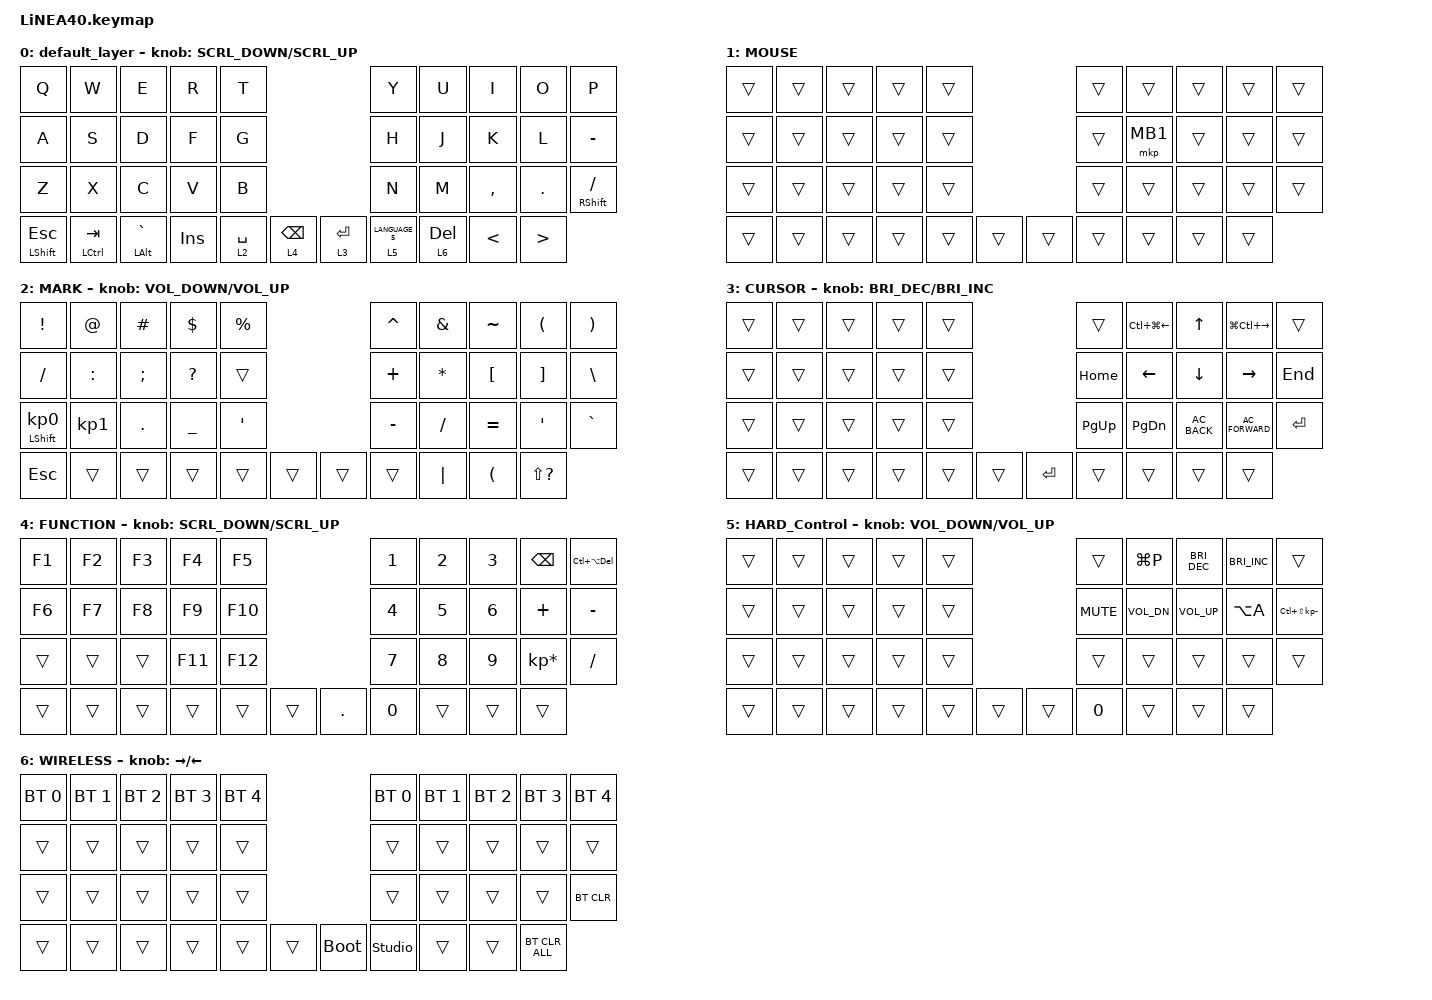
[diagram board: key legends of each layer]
#define ZMK_POINTING_DEFAULT_SCRL_VAL 150

#include <dt-bindings/zmk/input_transform.h>
#include <input/processors.dtsi>
#include <zephyr/dt-bindings/input/input-event-codes.h>
#include <behaviors.dtsi>
#include <dt-bindings/zmk/bt.h>
#include <dt-bindings/zmk/keys.h>
#include <dt-bindings/zmk/pointing.h>

#define MOUSE 1
#define MARK 2
#define CURSOR 3
#define FUNCTION 4
#define SCROLL 5
#define WIRELESS 6

//mouse cursol

&mmv {
    delay-ms = <20>;
    trigger-period-ms = <5>;
    time-to-max-speed-ms = <100>;
    acceleration-exponent = <2>;
};

//mouse scroll

&msc {
    delay-ms = <3>;
    trigger-period-ms = <3>;
    time-to-max-speed-ms = <100>;
    acceleration-exponent = <0>;
};

/ {
    input_processors {
        zip_wheel_scaler: zip_wheel_scaler {
            compatible = "zmk,input-processor-scaler";
            #input-processor-cells = <2>;
            type = <INPUT_EV_REL>;
            codes = <INPUT_REL_WHEEL>;
            track-remainders;
        };
    };
};

&msc_input_listener {
    speed_up {
        layers = <FUNCTION>;
        input-processors = <&zip_wheel_scaler 3 1>; //スクロールを3倍速にする
    };
};

&trackball_listener {
    scroller {
        layers = <SCROLL>;
        input-processors =
            <&zip_xy_transform INPUT_TRANSFORM_Y_INVERT>,
            //スクロール方向を逆転,,,,,
            <&zip_xy_to_scroll_mapper>;
    };
};

/ {
    combos {
        compatible = "zmk,combos";

        ZenkakuHankaku {
            bindings = <&kp GRAVE>;
            key-positions = <11 12>;
        };

        DeleteKey {
            bindings = <&kp DEL>;
            key-positions = <7 8>;
        };

        InsertKey {
            bindings = <&kp INS>;
            key-positions = <6 7>;
        };

        CenterClick {
            bindings = <&mkp MB3>;
            key-positions = <17 16>;
        };

        RightClick {
            bindings = <&mkp MB2>;
            key-positions = <18 17>;
        };

        PrevClick {
            bindings = <&mkp MB4>;
            key-positions = <27 28>;
        };

        ClickNext {
            bindings = <&mkp MB5>;
            key-positions = <26 27>;
        };
    };

    behaviors {
        re_kp: sensor_rotate_kp {
            compatible = "zmk,behavior-sensor-rotate-var";
            #sensor-binding-cells = <2>;
            bindings = <&kp>, <&kp>;
        };

        mouse_scrl: mouse_wheel_scrl {
            compatible = "zmk,behavior-sensor-rotate-var";
            #sensor-binding-cells = <2>;
            bindings = <&msc>, <&msc>;

            tap-ms = <20>;
        };
    };

    keymap {
        compatible = "zmk,keymap";

        default_layer {
            bindings = <
&kp Q           &kp W          &kp E               &kp R    &kp T                                        &kp Y             &kp U  &kp I      &kp O          &kp P
&kp A           &kp S          &kp D               &kp F    &kp G                                        &kp H             &kp J  &kp K      &kp L          &kp MINUS
&kp Z           &kp X          &kp C               &kp V    &kp B                                        &kp N             &kp M  &kp COMMA  &kp DOT        &mt RIGHT_SHIFT SLASH
&mt LSHIFT ESC  &mt LCTRL TAB  &mt LEFT_ALT GRAVE  &kp INS  &lt 2 SPACE  &lt 4 BACKSPACE    &lt 3 ENTER  &lt 5 LANGUAGE_5         &lt 6 DEL  &kp LESS_THAN  &kp GREATER_THAN
            >;

            sensor-bindings = <&mouse_scrl SCRL_DOWN SCRL_UP>;
        };

        //1

        MOUSE {
            bindings = <
&trans  &trans  &trans  &trans  &trans                    &trans  &trans    &trans  &trans  &trans
&trans  &trans  &trans  &trans  &trans                    &trans  &mkp MB1  &trans  &trans  &trans
&trans  &trans  &trans  &trans  &trans                    &trans  &trans    &trans  &trans  &trans
&trans  &trans  &trans  &trans  &trans  &trans    &trans  &trans            &trans  &trans  &trans
            >;
        };

        //2

        MARK {
            bindings = <
&kp EXCLAMATION             &kp AT           &kp HASH       &kp DOLLAR      &kp PERCENT                    &kp CARET  &kp AMPERSAND  &kp TILDE         &kp LEFT_PARENTHESIS  &kp RIGHT_PARENTHESIS
&kp SLASH                   &kp COLON        &kp SEMICOLON  &kp QUESTION    &trans                         &kp PLUS   &kp ASTERISK   &kp LEFT_BRACKET  &kp RIGHT_BRACKET     &kp BACKSLASH
&mt LEFT_SHIFT KP_NUMBER_0  &kp KP_NUMBER_1  &kp PERIOD     &kp UNDERSCORE  &kp SQT                        &kp MINUS  &kp SLASH      &kp EQUAL         &kp SQT               &kp GRAVE
&kp ESCAPE                  &trans           &trans         &trans          &trans       &trans    &trans  &trans                    &kp PIPE          &kp LEFT_PARENTHESIS  &kp LS(QUESTION)
            >;

            sensor-bindings = <&re_kp C_VOLUME_DOWN C_VOLUME_UP>;
        };

        //3

        CURSOR {
            bindings = <
&trans  &trans  &trans  &trans  &trans                       &trans     &kp LC(LG(LEFT_ARROW))  &kp UP          &kp LG(LC(RIGHT_ARROW))  &trans
&trans  &trans  &trans  &trans  &trans                       &kp HOME   &kp LEFT_ARROW          &kp DOWN_ARROW  &kp RIGHT                &kp END
&trans  &trans  &trans  &trans  &trans                       &kp PG_UP  &kp PAGE_DOWN           &kp C_AC_BACK   &kp C_AC_FORWARD         &kp ENTER
&trans  &trans  &trans  &trans  &trans  &trans    &kp ENTER  &trans                             &trans          &trans                   &trans
            >;

            sensor-bindings = <&inc_dec_kp C_BRIGHTNESS_DEC C_BRIGHTNESS_INC>;
        };

        //4

        FUNCTION {
            bindings = <
&kp F1  &kp F2  &kp F3  &kp F4   &kp F5                         &kp NUMBER_1  &kp NUMBER_2  &kp NUMBER_3  &kp BACKSPACE    &kp LC(LA(DELETE))
&kp F6  &kp F7  &kp F8  &kp F9   &kp F10                        &kp NUMBER_4  &kp NUMBER_5  &kp NUMBER_6  &kp PLUS         &kp MINUS
&trans  &trans  &trans  &kp F11  &kp F12                        &kp NUMBER_7  &kp NUMBER_8  &kp NUMBER_9  &kp KP_ASTERISK  &kp SLASH
&trans  &trans  &trans  &trans   &trans   &trans    &kp PERIOD  &kp NUMBER_0                &trans        &trans           &trans
            >;

            sensor-bindings = <&mouse_scrl SCRL_DOWN SCRL_UP>;
        };

        //5

        HARD_Control {
            bindings = <
&trans  &trans  &trans  &trans  &trans                    &trans        &kp LG(P)     &kp C_BRIGHTNESS_DEC  &kp C_BRIGHTNESS_INC  &trans
&trans  &trans  &trans  &trans  &trans                    &kp C_MUTE    &kp C_VOL_DN  &kp C_VOL_UP          &kp LA(A)             &kp LC(LS(KP_MINUS))
&trans  &trans  &trans  &trans  &trans                    &trans        &trans        &trans                &trans                &trans
&trans  &trans  &trans  &trans  &trans  &trans    &trans  &kp NUMBER_0                &trans                &trans                &trans
            >;

            sensor-bindings = <&inc_dec_kp C_VOLUME_DOWN C_VOLUME_UP>;
        };

        //6

        WIRELESS {
            bindings = <
&bt BT_SEL 0  &bt BT_SEL 1  &bt BT_SEL 2  &bt BT_SEL 3  &bt BT_SEL 4                         &bt BT_SEL 0    &bt BT_SEL 1  &bt BT_SEL 2  &bt BT_SEL 3  &bt BT_SEL 4
&trans        &trans        &trans        &trans        &trans                               &trans          &trans        &trans        &trans        &trans
&trans        &trans        &trans        &trans        &trans                               &trans          &trans        &trans        &trans        &bt BT_CLR
&trans        &trans        &trans        &trans        &trans        &trans    &bootloader  &studio_unlock                &trans        &trans        &bt BT_CLR_ALL
            >;

            sensor-bindings = <&inc_dec_kp RIGHT_ARROW LEFT_ARROW>;
        };
    };
};
